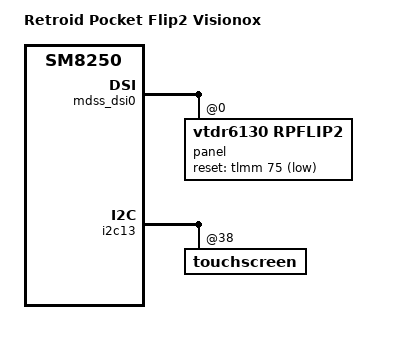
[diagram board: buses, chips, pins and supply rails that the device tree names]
// SPDX-License-Identifier: GPL-2.0
/* Retroid Pocket Flip 2 with the Visionox VTDR6130 panel; see the rp5-visionox dts. */

/dts-v1/;

#include "sm8250-retroidpocket-flip2.dts"

/ {
	model = "Retroid Pocket Flip2 Visionox";
};

&mdss_dsi0 {
	panel@0 {
		compatible = "vtdr6130,rpflip2";
		reset-gpios = <&tlmm 75 GPIO_ACTIVE_LOW>;
	};
};

&i2c13 {
	touchscreen@38 {
		/delete-property/ touchscreen-inverted-x;
	};
};

/* Cold-boot power-on, see the rp5-visionox dts. */
&vdda_panel {
	/delete-property/ regulator-boot-on;
};
